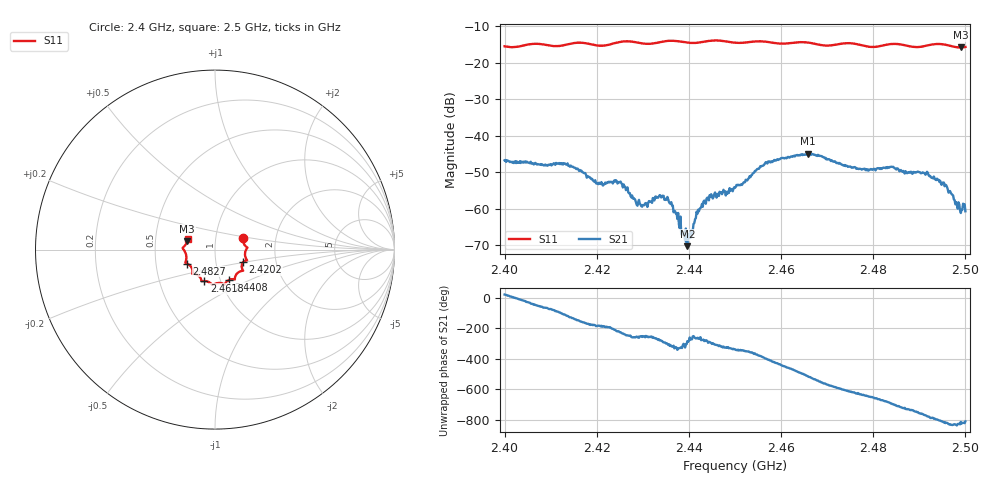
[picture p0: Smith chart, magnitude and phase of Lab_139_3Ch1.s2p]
# Hz S RI R 50
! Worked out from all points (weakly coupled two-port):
!   601 points, 2.4 GHz to 2.5 GHz, reference 50 ohm
!   highest |S21| = -44.94 dB at 2.4658 GHz (marker M1); lowest = -70.2 dB at 2.4397 GHz (marker M2)
!   lowest |S11| = -15.8 dB at 2.499 GHz (marker M3), VSWR 1.39, Z = 36.5 + j3.52 ohm
!   |S11| at or under -10 dB: start of sweep to end of sweep
!   S12 and S22 are empty: the file has one direction only
!   S11 on the Smith chart (normalised r, x): 2.4 GHz: 1.36, +0.17; 2.4202 GHz: 1.35, -0.20; 2.4408 GHz: 1.10, -0.38; 2.4618 GHz: 0.84, -0.30; 2.4827 GHz: 0.72, -0.12; 2.5 GHz: 0.73, +0.09
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2.4e9  0.156 0.0619  0.00434 0.00156  0 0  0 0
2.416667e9  0.1781 -0.0594  -0.00308 -0.00127  0 0  0 0
2.420167e9  0.1566 -0.0705  -0.00223 0.000151  0 0  0 0
2.424667e9  0.1542 -0.112  -0.0018 0.00148  0 0  0 0
2.429833e9  0.1367 -0.1228  -0.000235 0.00104  0 0  0 0
2.433333e9  0.1118 -0.152  0.000183 0.00141  0 0  0 0
2.435833e9  0.1107 -0.1659  0.000853 0.000828  0 0  0 0
2.439667e9  0.0907 -0.165  7.59e-05 0.000299  0 0  0 0
2.440833e9  0.079 -0.1688  -0.000141 0.000482  0 0  0 0
2.442167e9  0.0664 -0.1767  -0.000103 0.000919  0 0  0 0
2.444333e9  0.0549 -0.191  0.000436 0.00123  0 0  0 0
2.45e9  0.0278 -0.1859  0.00179 0.000723  0 0  0 0
2.457e9  -0.0186 -0.192  0.00301 -0.00287  0 0  0 0
2.461833e9  -0.0602 -0.175  -0.00111 -0.0049  0 0  0 0
2.465833e9  -0.0758 -0.1729  -0.00511 -0.00244  0 0  0 0
2.466667e9  -0.0769 -0.1685  -0.00545 -0.00135  0 0  0 0
2.482667e9  -0.1571 -0.0779  0.00263 0.00246  0 0  0 0
2.483333e9  -0.1612 -0.0764  0.00298 0.00214  0 0  0 0
2.492e9  -0.1736 -0.00143  0.00155 -0.00245  0 0  0 0
2.4955e9  -0.1766 0.0132  -0.000124 -0.00203  0 0  0 0
2.499e9  -0.1545 0.047  -3.12e-05 -0.000876  0 0  0 0
2.5e9  -0.1521 0.0616  1.62e-05 -0.000925  0 0  0 0
